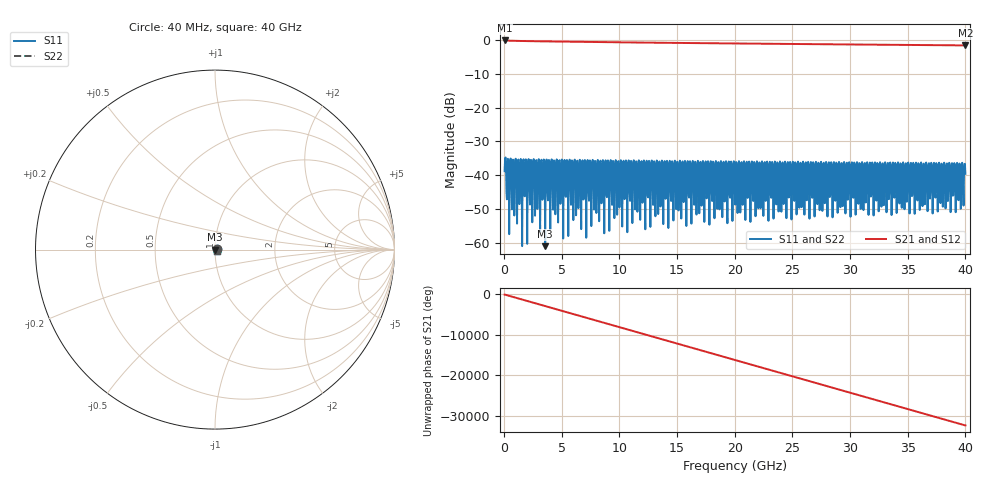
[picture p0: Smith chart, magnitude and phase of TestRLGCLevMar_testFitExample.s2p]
# MHz MA S R 50.0
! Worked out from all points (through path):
!   1000 points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, 40 MHz to 40 GHz, reference 50 ohm
!   highest |S21| = -0.17 dB at 40 MHz (marker M1); lowest = -1.6 dB at 40 GHz (marker M2)
!   lowest |S11| = -60.9 dB at 3.56 GHz (marker M3), VSWR 1.00, Z = 50.1 - j0.00707 ohm
!   |S11| at or under -10 dB: start of sweep to end of sweep
!   |S22| runs from -60.9 to -34.7 dB; largest |S21 - S12| = 0
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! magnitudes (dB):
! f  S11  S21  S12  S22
! 40 MHz  -38.8  -0.2  -0.2  -38.8
! 200 MHz  -44.9  -0.2  -0.2  -44.9
! 240 MHz  -47.1  -0.2  -0.2  -47.1
! 560 MHz  -35.0  -0.3  -0.3  -35.0
! 680 MHz  -50.1  -0.3  -0.3  -50.1
! 1.32 GHz  -48.5  -0.3  -0.3  -48.5
! 1.44 GHz  -35.2  -0.3  -0.3  -35.2
! 2.68 GHz  -51.9  -0.4  -0.4  -51.9
! 3.56 GHz  -60.9  -0.5  -0.5  -60.9
! 4.24 GHz  -50.1  -0.5  -0.5  -50.1
! 4.88 GHz  -48.4  -0.5  -0.5  -48.4
! 5 GHz  -35.4  -0.5  -0.5  -35.4
! 5.8 GHz  -48.7  -0.6  -0.6  -48.7
! 6.72 GHz  -39.9  -0.6  -0.6  -39.9
! 13.36 GHz  -51.4  -0.8  -0.8  -51.4
! 20.04 GHz  -48.6  -1.1  -1.1  -48.6
! 26.68 GHz  -45.6  -1.3  -1.3  -45.6
! 33.36 GHz  -47.0  -1.5  -1.5  -47.0
! 39.72 GHz  -36.3  -1.6  -1.6  -36.3
! 39.8 GHz  -43.4  -1.6  -1.6  -43.4
! 39.88 GHz  -39.8  -1.6  -1.6  -39.8
! 40 GHz  -39.6  -1.6  -1.6  -39.6
